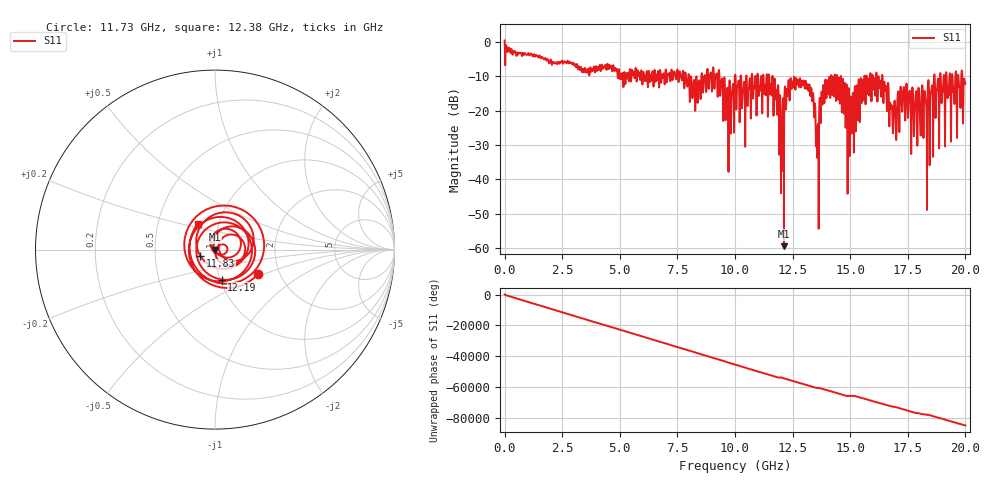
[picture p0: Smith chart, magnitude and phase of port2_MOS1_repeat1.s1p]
! MS46122B
! 2250307/22442219
! 7/22/2025 3:24:15 PM
! C:\USERS\SPARKY\DOCUMENTS\VNA_DATA\JULY22_2025\295\PORT2_MOS1_REPEAT1.S1P
! CHANNEL.1
! TR.MEASUREMENT
! RAW.DATA
# GHZ S RI R 50.0
! FREQ.GHZ  S11RE  S11IM
!; PortSelection: Port_1
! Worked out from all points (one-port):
!   10001 points, 1 MHz to 20 GHz, reference 50 ohm
!   lowest |S11| = -59.4 dB at 12.12 GHz (marker M1), VSWR 1.00, Z = 50 - j0.107 ohm
!   |S11| at or under -10 dB: 11.63 GHz to 14.17 GHz (2.533 GHz wide, 19.6 % of centre); 14.6 GHz to 15.62 GHz (1.018 GHz wide, 6.74 % of centre); 16.4 GHz to 18.64 GHz (2.237 GHz wide, 12.8 % of centre) (the widest 3 of 72)
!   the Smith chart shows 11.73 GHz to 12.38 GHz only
!   S11 on the Smith chart (normalised r, x): 11.73 GHz: 1.54, -0.46; 11.83 GHz: 0.85, -0.06; 12.19 GHz: 1.02, -0.35; 12.38 GHz: 0.79, +0.23
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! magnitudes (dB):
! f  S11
! 1 MHz  0.4
! 2.501 GHz  -5.5
! 5.001 GHz  -10.5
! 7.501 GHz  -8.0
! 8.207 GHz  -11.7
! 9.123 GHz  -12.2
! 9.655 GHz  -14.1
! 10 GHz  -9.8
! 11.73 GHz  -11.2
! 11.83 GHz  -21.0
! 11.99 GHz  -26.2
! 12.12 GHz  -59.4
! 12.19 GHz  -15.3
! 12.38 GHz  -15.3
! 12.5 GHz  -11.6
! 13.24 GHz  -12.6
! 13.56 GHz  -26.9
! 13.76 GHz  -14.6
! 14.01 GHz  -11.2
! 14.51 GHz  -10.5
! 15 GHz  -17.8
! 15.8 GHz  -10.7
! 16.47 GHz  -12.7
! 16.93 GHz  -17.1
! 17.5 GHz  -21.6
! 18.26 GHz  -16.4
! 18.73 GHz  -16.4
! 20 GHz  -12.1
